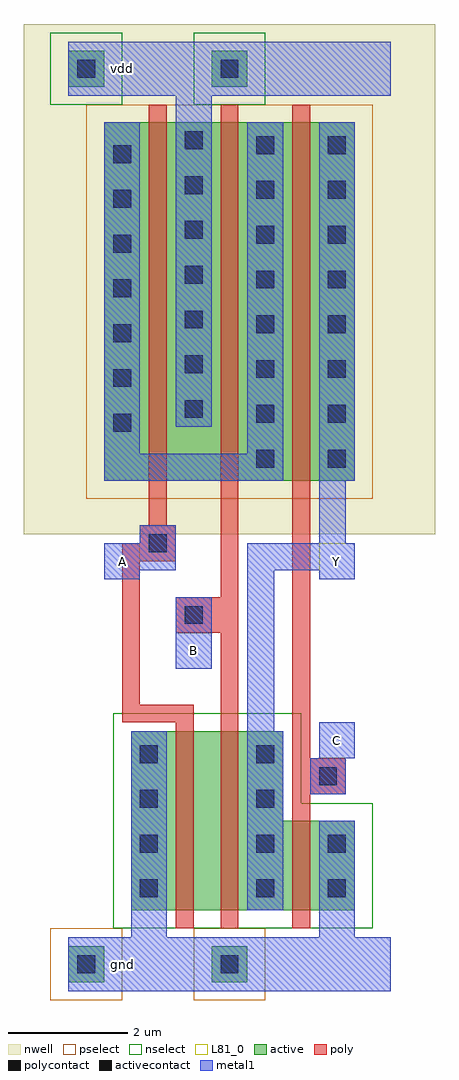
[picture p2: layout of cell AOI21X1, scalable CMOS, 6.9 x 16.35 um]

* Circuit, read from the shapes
.subckt AOI21X1 A B C Y gnd vdd
M1 n1 A gnd gnd nfet w=3u l=0.3u
M2 Y B n1 gnd nfet w=3u l=0.3u
M3 gnd C Y gnd nfet w=1.5u l=0.3u
M4 vdd A n2 vdd pfet w=6u l=0.3u
M5 n2 B vdd vdd pfet w=6u l=0.3u
M6 Y C n2 vdd pfet w=6u l=0.3u
.ends

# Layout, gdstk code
import gdstk
lib = gdstk.Library(unit=1e-6, precision=1e-09)
def R(c, l, rs):  # rectangles x0, y0, x1, y1
    for r in rs: c.add(gdstk.rectangle(r[:2], r[2:], *l))
def A(c, l, x, y, w, h, nx, ny, dx, dy):  # array of equal rectangles
    R(c, l, [(x+i*dx, y+j*dy, x+i*dx+w, y+j*dy+h) for i in range(nx) for j in range(ny)])
nwell = (42, 0)
active = (43, 0)
pselect = (44, 0)
nselect = (45, 0)
poly = (46, 0)
polycontact = (47, 0)
activecontact = (48, 0)
metal1 = (49, 0)
L81_0 = (81, 0)

aoi21x1 = lib.new_cell('AOI21X1')
R(aoi21x1, nwell, [(-1.05,7.2,5.85,15.75)])
R(aoi21x1, active, [(-0.3,-0.3,0.3,0.3), (2.1,-0.3,2.7,0.3), (0.75,0.9,4.5,2.4), (0.75,2.4,3.3,3.9), (0.3,8.1,4.5,14.1), (-0.3,14.7,0.3,15.3), (2.1,14.7,2.7,15.3)])
R(aoi21x1, pselect, [(-0.6,-0.6,0.6,0.6), (1.8,-0.6,3,0.6), (0,7.8,4.8,14.4)])
R(aoi21x1, nselect, [(0.45,0.6,4.8,2.7), (0.45,2.7,3.6,4.2), (-0.6,14.4,0.6,15.6), (1.8,14.4,3,15.6)])
R(aoi21x1, poly, [(1.5,0.6,1.8,4.05), (2.25,0.6,2.55,5.55), (3.45,0.6,3.75,2.85), (3.45,2.85,4.35,3.45), (3.45,3.45,3.75,14.4), (0.6,4.05,1.8,4.35), (0.6,4.35,0.9,6.75), (1.5,5.55,2.55,6.15), (2.25,6.15,2.55,14.4), (0.6,6.75,1.5,7.05), (0.9,7.05,1.5,7.35), (1.05,7.35,1.35,14.4)])
R(aoi21x1, polycontact, [(3.9,3,4.2,3.3), (1.65,5.7,1.95,6), (1.05,6.9,1.35,7.2)])
A(aoi21x1, activecontact, 0.9, 1.12, 0.3, 0.3, 1, 4, 0, 0.75)
A(aoi21x1, activecontact, 2.85, 1.12, 0.3, 0.3, 1, 4, 0, 0.75)
A(aoi21x1, activecontact, 2.85, 8.32, 0.3, 0.3, 1, 8, 0, 0.75)
A(aoi21x1, activecontact, 4.05, 8.32, 0.3, 0.3, 1, 8, 0, 0.75)
A(aoi21x1, activecontact, 0.45, 8.92, 0.3, 0.3, 1, 7, 0, 0.75)
A(aoi21x1, activecontact, 1.65, 9.15, 0.3, 0.3, 1, 7, 0, 0.75)
R(aoi21x1, activecontact, [(-0.15,-0.15,0.15,0.15), (2.25,-0.15,2.55,0.15), (4.05,1.12,4.35,1.42), (4.05,1.87,4.35,2.17), (-0.15,14.85,0.15,15.15), (2.25,14.85,2.55,15.15)])
R(aoi21x1, metal1, [(-0.3,-0.45,5.1,0.45), (0.75,0.45,1.35,3.9), (3.9,0.45,4.5,2.4), (2.7,0.9,3.3,3.9), (3.75,2.85,4.35,3.45), (3.9,3.45,4.5,4.05), (2.7,3.9,3.15,6.6), (1.5,4.95,2.1,6.15), (0.3,6.45,0.9,6.6), (3.9,6.45,4.5,6.6), (0.3,6.6,1.5,7.05), (2.7,6.6,4.5,7.05), (0.9,7.05,1.5,7.35), (3.9,7.05,4.35,8.1), (0.3,8.1,3.3,8.55), (3.9,8.1,4.5,14.1), (0.3,8.55,0.9,14.1), (2.7,8.55,3.3,14.1), (1.5,9,2.1,14.55), (-0.3,14.55,5.1,15.45)])
R(aoi21x1, L81_0, [(3.9,3.45,4.5,4.05), (1.5,4.95,2.1,5.55), (0.3,6.45,0.9,7.05), (3.9,6.45,4.5,7.05)])
aoi21x1.add(gdstk.Label('gnd', (0.6,0), layer=109, texttype=0))
aoi21x1.add(gdstk.Label('vdd', (0.6,15), layer=109, texttype=0))
aoi21x1.add(gdstk.Label('A', (0.6,6.75), layer=109, texttype=0))
aoi21x1.add(gdstk.Label('B', (1.8,5.25), layer=109, texttype=0))
aoi21x1.add(gdstk.Label('Y', (4.2,6.75), layer=109, texttype=0))
aoi21x1.add(gdstk.Label('C', (4.2,3.75), layer=109, texttype=0))

lib.write_gds('AOI21X1.gds')
